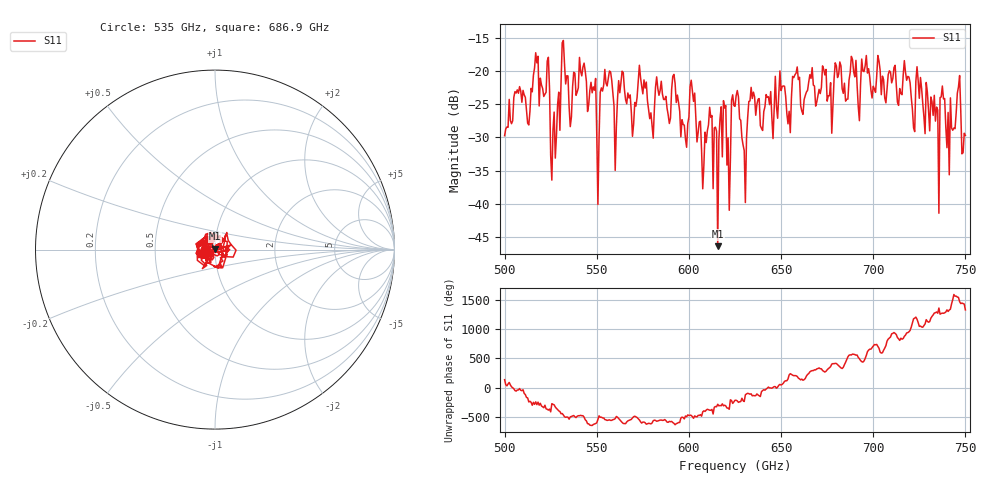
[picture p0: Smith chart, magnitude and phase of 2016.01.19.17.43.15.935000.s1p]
!Created with skrf (http://scikit-rf.org).
# GHz S RI R 50.0
!freq ReS11 ImS11
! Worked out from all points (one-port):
!   401 points, 500 GHz to 750 GHz, reference 50 ohm
!   lowest |S11| = -46.4 dB at 615.6 GHz (marker M1), VSWR 1.01, Z = 50.1 + j0.458 ohm
!   |S11| at or under -10 dB: start of sweep to end of sweep
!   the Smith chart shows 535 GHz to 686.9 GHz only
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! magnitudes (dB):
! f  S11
! 500 GHz  -29.7
! 506.9 GHz  -22.8
! 513.1 GHz  -28.1
! 516.9 GHz  -17.2
! 523.1 GHz  -18.5
! 526.2 GHz  -28.8
! 531.2 GHz  -15.7
! 535.6 GHz  -28.4
! 541.9 GHz  -20.7
! 551.2 GHz  -30.0
! 553.1 GHz  -23.0
! 560 GHz  -35.0
! 562.5 GHz  -23.2
! 593.8 GHz  -23.6
! 598.1 GHz  -30.2
! 601.9 GHz  -22.9
! 615.6 GHz  -46.4
! 618.8 GHz  -24.4
! 621.9 GHz  -41.0
! 625 GHz  -25.3
! 630 GHz  -32.0
! 633.8 GHz  -22.4
! 656.2 GHz  -20.8
! 687.5 GHz  -20.2
! 718.8 GHz  -20.8
! 735 GHz  -25.9
! 746.2 GHz  -22.4
! 750 GHz  -29.7
